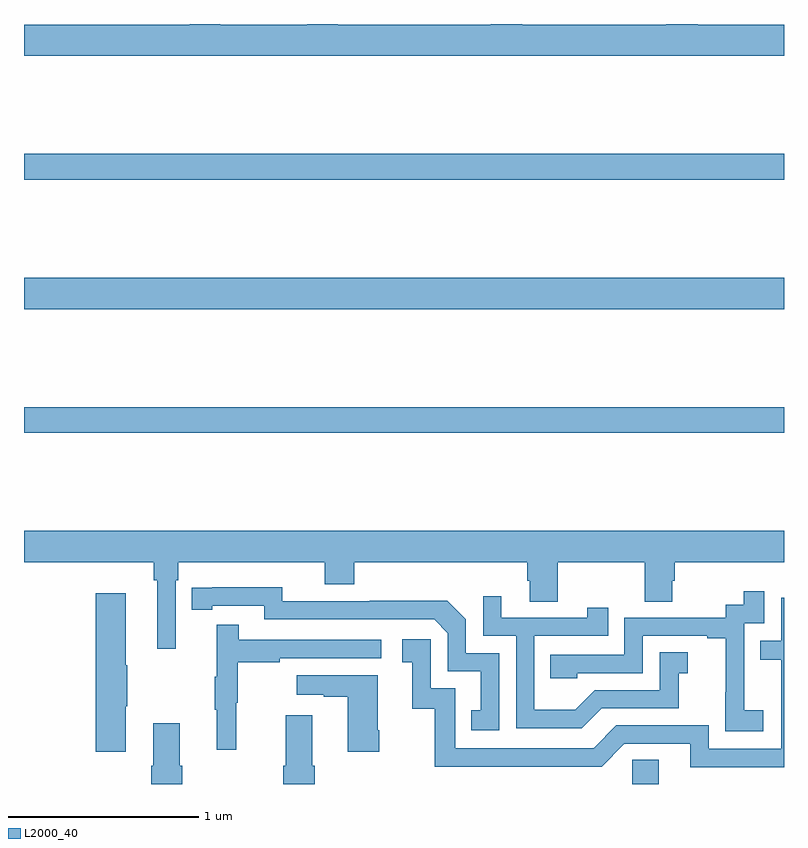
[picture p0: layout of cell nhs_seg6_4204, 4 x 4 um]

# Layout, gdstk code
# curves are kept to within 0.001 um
import gdstk
lib = gdstk.Library(unit=1e-6, precision=1e-09)
def R(c, l, rs):  # rectangles x0, y0, x1, y1
    for r in rs: c.add(gdstk.rectangle(r[:2], r[2:], *l))
def P(c, l, *ps):  # polygons
    for p in ps: c.add(gdstk.Polygon(p, *l))
L2000_40 = (2000, 40)

nhs_seg6_4204 = lib.new_cell('nhs_seg6_4204')
R(nhs_seg6_4204, L2000_40, [(362.202,947.5,362.341,947.627), (359,949.348,363,949.484), (359,950,363,950.164), (359,950.68,363,950.816)])
P(nhs_seg6_4204, L2000_40, [(363,951.496),(362.546,951.496),(362.546,951.5),(362.381,951.5),(362.381,951.496),(361.622,951.496),(361.622,951.5),(361.457,951.5),(361.457,951.496),(360.65,951.496),(360.65,951.5),(360.49,951.5),(360.49,951.496),(360.033,951.496),(360.033,951.5),(359.873,951.5),(359.873,951.496),(359,951.496),(359,951.332),(363,951.332)],
  [(359.799,948.572),(359.813,948.572),(359.813,948.668),(360.584,948.668),(360.584,948.551),(360.737,948.551),(360.737,948.668),(361.649,948.668),(361.649,948.57),(361.661,948.57),(361.661,948.46),(361.809,948.46),(361.809,948.668),(362.266,948.668),(362.266,948.46),(362.413,948.46),(362.413,948.57),(362.426,948.57),(362.426,948.668),(363,948.668),(363,948.832),(359,948.832),(359,948.668),(359.683,948.668),(359.683,948.572),(359.702,948.572),(359.702,948.213),(359.799,948.213)],
  [(361.5,948.189),(361.326,948.189),(361.326,948.366),(361.228,948.464),(360.82,948.464),(360.82,948.462),(360.36,948.462),(360.36,948.535),(359.884,948.534),(359.884,948.418),(359.992,948.418),(359.992,948.438),(360.264,948.438),(360.264,948.366),(361.158,948.366),(361.23,948.294),(361.23,948.093),(361.403,948.093),(361.403,947.889),(361.354,947.889),(361.354,947.784),(361.5,947.784)],
  [(362.89,947.887),(362.792,947.887),(362.792,948.116),(362.79,948.116),(362.79,948.345),(362.895,948.345),(362.895,948.514),(362.787,948.514),(362.787,948.444),(362.694,948.444),(362.694,948.375),(362.16,948.375),(362.16,948.18),(361.771,948.18),(361.771,948.057),(361.911,948.057),(361.911,948.084),(362.256,948.084),(362.256,948.279),(362.597,948.279),(362.597,948.267),(362.693,948.267),(362.693,947.983),(362.692,947.983),(362.692,947.777),(362.89,947.777)],
  [(359.536,947.908),(359.544,947.908),(359.544,948.125),(359.536,948.125),(359.536,948.505),(359.378,948.505),(359.378,947.67),(359.536,947.67)],
  [(362.041,947.898),(362.445,947.898),(362.445,948.083),(362.494,948.083),(362.494,948.193),(362.346,948.193),(362.346,947.994),(362.004,947.994),(361.9,947.89),(361.686,947.89),(361.686,948.279),(362.075,948.279),(362.075,948.427),(361.964,948.427),(361.964,948.375),(361.513,948.375),(361.513,948.487),(361.416,948.487),(361.416,948.279),(361.59,948.279),(361.59,947.793),(361.936,947.793)],
  [(363,948.48),(362.985,948.48),(362.985,948.255),(362.875,948.255),(362.875,948.154),(362.985,948.154),(362.985,947.685),(362.604,947.685),(362.604,947.808),(362.118,947.808),(361.998,947.688),(361.269,947.688),(361.269,948.003),(361.14,948.003),(361.14,948.262),(360.99,948.262),(360.99,948.141),(361.043,948.141),(361.043,947.895),(361.161,947.895),(361.161,947.592),(362.04,947.592),(362.16,947.712),(362.507,947.712),(362.507,947.589),(363,947.589)],
  [(360.116,947.928),(360.124,947.928),(360.124,948.142),(360.347,948.142),(360.347,948.162),(360.88,948.162),(360.88,948.258),(360.131,948.258),(360.131,948.337),(360.014,948.337),(360.014,948.065),(360.003,948.065),(360.003,947.891),(360.014,947.891),(360.014,947.679),(360.116,947.679)],
  [(360.87,947.782),(360.862,947.782),(360.862,948.073),(360.435,948.073),(360.435,947.969),(360.578,947.969),(360.578,947.959),(360.704,947.959),(360.704,947.67),(360.87,947.67)],
  [(360.53,947.596),(360.517,947.596),(360.517,947.863),(360.377,947.863),(360.377,947.596),(360.365,947.596),(360.365,947.5),(360.53,947.5)],
  [(359.821,947.596),(359.821,947.821),(359.681,947.821),(359.681,947.596),(359.669,947.596),(359.669,947.5),(359.834,947.5),(359.834,947.596)])

lib.write_gds('nhs_seg6_4204.gds')
